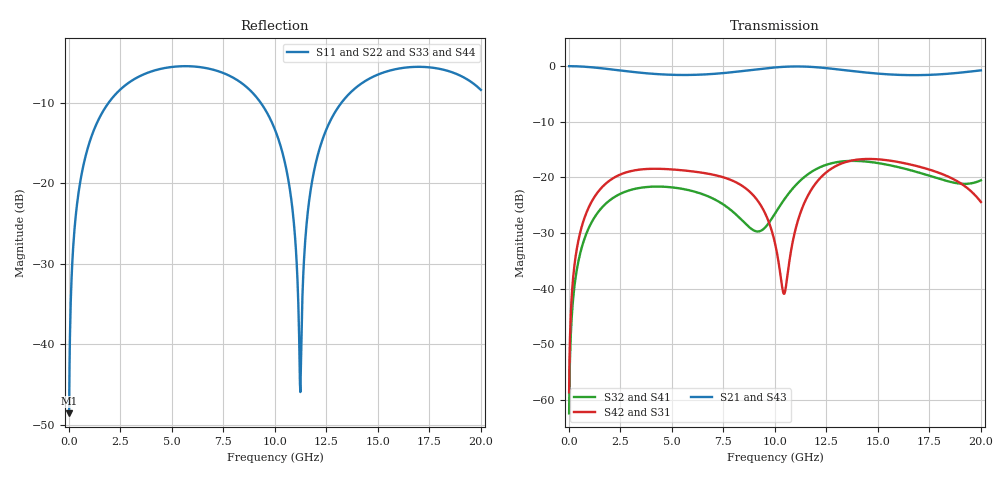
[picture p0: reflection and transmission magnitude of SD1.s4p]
! Touchstone file exported from Circuit Design 2026.1.0
!  File:  local/demo-project/Project1.aedt
!  Generated:  05:04:59 PM Apr 21, 2026
!  Design:  Circuit2
!  Project:  Project1
!  Setup:  LinearFrequency
!  Solution:  LinearFrequency
# GHz S MA R 50.000000
! Terminal data exported
! Port[1] = Port1
! Port[2] = Port2
! Port[3] = Port3
! Port[4] = Port4
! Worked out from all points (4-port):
!   1000 points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, 20 MHz to 20 GHz, reference 50 ohm
!   strongest paths, dB at 20 MHz, 5.02 GHz, 10.02 GHz, 15.02 GHz, 20 GHz:
!     S21: 0.0, -1.6, -0.2, -1.3, -0.8
!     S43: 0.0, -1.6, -0.2, -1.3, -0.8
!     S42: -58.6, -18.6, -32.0, -16.7, -24.4
!     S31: -58.6, -18.6, -32.0, -16.7, -24.4
!     S32: -62.4, -21.8, -26.4, -17.4, -20.5
!     S41: -62.4, -21.8, -26.4, -17.4, -20.5
!   lowest |S11| = -48.6 dB at 20 MHz (marker M1), VSWR 1.01, Z = 50 + j0.371 ohm
!   |S11| at or under -10 dB: start of sweep to 1.934 GHz; 9.319 GHz to 13.23 GHz (3.912 GHz wide, 34.7 % of centre)
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0.02  0.003714 88.0  0.9999 -0.4  0.001172 89.5  0.0007597 -90.7
      0.9999 -0.4  0.003714 88.0  0.0007597 -90.7  0.001172 89.5
      0.001172 89.5  0.0007597 -90.7  0.003714 88.0  0.9999 -0.4
      0.0007597 -90.7  0.001172 89.5  0.9999 -0.4  0.003714 88.0
0.88  0.1579 72.5  0.9853 -16.8  0.04923 67.4  0.03205 -121.0
      0.9853 -16.8  0.1579 72.5  0.03205 -121.0  0.04923 67.4
      0.04923 67.4  0.03205 -121.0  0.1579 72.5  0.9853 -16.8
      0.03205 -121.0  0.04923 67.4  0.9853 -16.8  0.1579 72.5
3.86  0.4878 23.7  0.8603 -65.2  0.1193 11.0  0.08226 151.6
      0.8603 -65.2  0.4878 23.7  0.08226 151.6  0.1193 11.0
      0.1193 11.0  0.08226 151.6  0.4878 23.7  0.8603 -65.2
      0.08226 151.6  0.1193 11.0  0.8603 -65.2  0.4878 23.7
9.34  0.3135 -54.0  0.9467 -143.7  0.05542 -63.3  0.03331 93.6
      0.9467 -143.7  0.3135 -54.0  0.03331 93.6  0.05542 -63.3
      0.05542 -63.3  0.03331 93.6  0.3135 -54.0  0.9467 -143.7
      0.03331 93.6  0.05542 -63.3  0.9467 -143.7  0.3135 -54.0
11.1  0.02515 -77.1  0.9941 -176.2  0.03973 96.8  0.08854 94.4
      0.9941 -176.2  0.02515 -77.1  0.08854 94.4  0.03973 96.8
      0.03973 96.8  0.08854 94.4  0.02515 -77.1  0.9941 -176.2
      0.08854 94.4  0.03973 96.8  0.9941 -176.2  0.02515 -77.1
13.52  0.3499 46.8  0.9147 140.4  0.1389 28.7  0.1405 29.4
       0.9147 140.4  0.3499 46.8  0.1405 29.4  0.1389 28.7
       0.1389 28.7  0.1405 29.4  0.3499 46.8  0.9147 140.4
       0.1405 29.4  0.1389 28.7  0.9147 140.4  0.3499 46.8
20  0.3804 -43.5  0.917 47.3  0.0602 -82.2  0.09428 -54.6
    0.917 47.3  0.3804 -43.5  0.09428 -54.6  0.0602 -82.2
    0.0602 -82.2  0.09428 -54.6  0.3804 -43.5  0.917 47.3
    0.09428 -54.6  0.0602 -82.2  0.917 47.3  0.3804 -43.5
